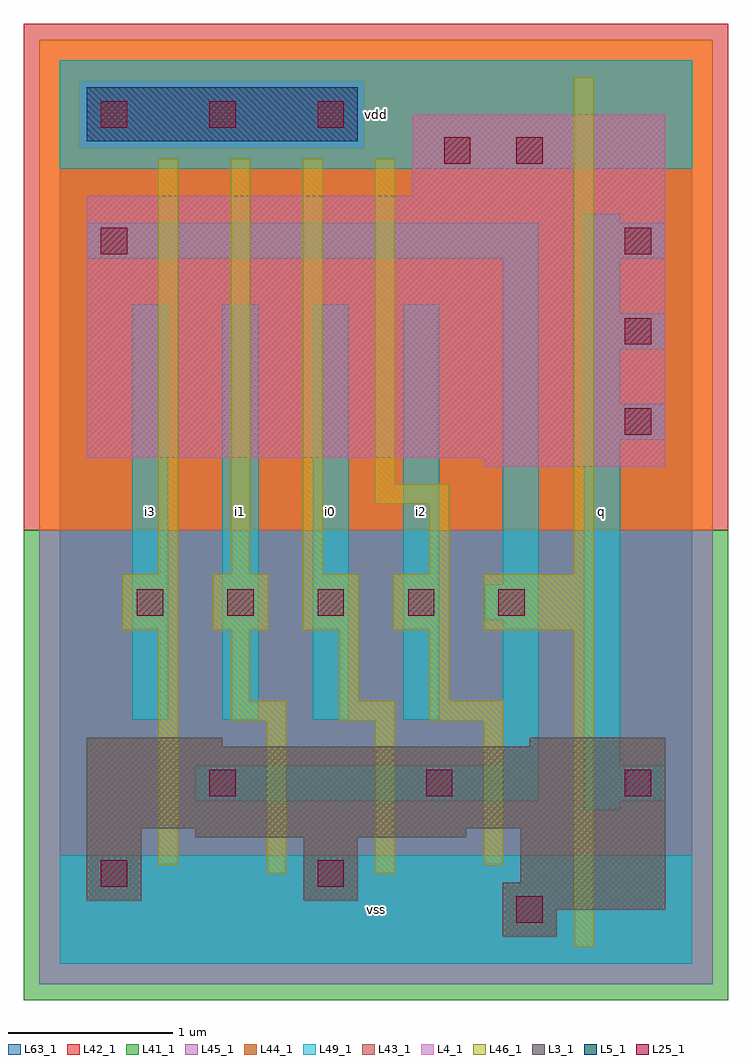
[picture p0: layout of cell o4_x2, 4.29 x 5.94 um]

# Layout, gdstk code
import gdstk
lib = gdstk.Library(unit=1e-6, precision=1e-09)
def R(c, l, rs):  # rectangles x0, y0, x1, y1
    for r in rs: c.add(gdstk.rectangle(r[:2], r[2:], *l))
def A(c, l, x, y, w, h, nx, ny, dx, dy):  # array of equal rectangles
    R(c, l, [(x+i*dx, y+j*dy, x+i*dx+w, y+j*dy+h) for i in range(nx) for j in range(ny)])
L3_1 = (3, 1)
L4_1 = (4, 1)
L5_1 = (5, 1)
L25_1 = (25, 1)
L41_1 = (41, 1)
L42_1 = (42, 1)
L43_1 = (43, 1)
L44_1 = (44, 1)
L45_1 = (45, 1)
L46_1 = (46, 1)
L49_1 = (49, 1)
L63_1 = (63, 1)

o4_x2 = lib.new_cell('o4_x2')
R(o4_x2, L3_1, [(2.695,0.165,3.025,0.33), (2.695,0.33,3.685,0.495), (0.165,0.385,0.495,0.825), (1.485,0.385,1.815,0.77), (2.805,0.495,3.685,0.825), (0.825,0.77,2.475,0.825), (0.165,0.825,3.685,1.32), (0.165,1.32,0.99,1.375), (2.86,1.32,3.685,1.375)])
R(o4_x2, L4_1, [(2.585,3.025,3.685,3.08), (0.165,3.08,3.685,4.675), (2.145,4.675,3.685,5.17)])
R(o4_x2, L5_1, [(0.165,5.005,1.815,5.335)])
A(o4_x2, L25_1, 0.47, 2.12, 0.16, 0.16, 5, 1, 0.55, 0)
A(o4_x2, L25_1, 3.44, 3.22, 0.16, 0.16, 1, 3, 0, 0.55)
A(o4_x2, L25_1, 0.25, 5.09, 0.16, 0.16, 3, 1, 0.66, 0)
R(o4_x2, L25_1, [(2.78,0.25,2.94,0.41), (0.25,0.47,0.41,0.63), (1.57,0.47,1.73,0.63), (0.91,1.02,1.07,1.18), (2.23,1.02,2.39,1.18), (3.44,1.02,3.6,1.18), (0.25,4.32,0.41,4.48), (2.34,4.87,2.5,5.03), (2.78,4.87,2.94,5.03)])
R(o4_x2, L41_1, [(-0.22,-0.22,4.07,2.64)])
R(o4_x2, L42_1, [(-0.22,2.64,4.07,5.72)])
R(o4_x2, L43_1, [(2.695,0.165,3.025,0.33), (2.695,0.33,3.685,0.495), (0.165,0.385,0.495,0.825), (1.485,0.385,1.815,0.77), (2.805,0.495,3.685,0.825), (0.825,0.77,2.475,0.825), (0.165,0.825,3.685,1.32), (0.165,1.32,0.99,1.375), (2.86,1.32,3.685,1.375), (2.585,3.025,3.685,3.08), (0.165,3.08,3.685,4.675), (2.145,4.675,3.685,5.17), (0.165,5.005,1.815,5.335)])
R(o4_x2, L44_1, [(-0.125,2.64,3.975,4.965), (-0.125,4.965,0.125,5.375), (1.855,4.965,3.975,5.375), (-0.125,5.375,3.975,5.625)])
R(o4_x2, L45_1, [(-0.125,-0.125,3.975,2.64), (0.125,4.965,1.855,5.375)])
A(o4_x2, L46_1, 0.38, 2.03, 0.34, 0.34, 4, 1, 0.55, 0)
A(o4_x2, L46_1, 0.6, 2.37, 0.12, 2.53, 3, 1, 0.44, 0)
R(o4_x2, L46_1, [(3.13,0.105,3.25,2.03), (1.26,0.545,1.38,1.48), (1.92,0.545,2.04,1.48), (0.6,0.6,0.72,2.03), (2.58,0.6,2.7,1.48), (1.04,1.48,1.38,1.6), (1.7,1.48,2.04,1.6), (2.25,1.48,2.7,1.6), (1.04,1.6,1.16,2.03), (1.7,1.6,1.82,2.03), (2.25,1.6,2.37,2.03), (2.58,2.03,3.25,2.37), (2.25,2.37,2.37,2.8), (3.13,2.37,3.25,5.395), (1.92,2.8,2.37,2.92), (1.92,2.92,2.04,4.9)])
A(o4_x2, L49_1, 0.44, 1.485, 0.22, 2.53, 4, 1, 0.55, 0)
A(o4_x2, L49_1, 3.19, 3.19, 0.495, 0.22, 1, 3, 0, 0.55)
R(o4_x2, L49_1, [(0,0,3.85,0.66), (3.19,0.935,3.41,0.99), (0.825,0.99,2.915,1.21), (3.19,0.99,3.685,1.21), (2.695,1.21,2.915,2.09), (3.19,1.21,3.41,3.19), (2.585,2.09,2.915,2.31), (2.695,2.31,2.915,4.29), (3.19,3.41,3.41,3.74), (3.19,3.96,3.41,4.29), (0.165,4.29,2.915,4.51), (3.19,4.51,3.41,4.565), (0,4.84,3.85,5.5)])
R(o4_x2, L63_1, [(0,0,3.85,5.5)])
o4_x2.add(gdstk.Label('i3', (0.55,2.75), layer=49, texttype=1))
o4_x2.add(gdstk.Label('i0', (1.65,2.75), layer=49, texttype=1))
o4_x2.add(gdstk.Label('i1', (1.1,2.75), layer=49, texttype=1))
o4_x2.add(gdstk.Label('vss', (1.925,0.33), layer=49, texttype=1))
o4_x2.add(gdstk.Label('i2', (2.2,2.75), layer=49, texttype=1))
o4_x2.add(gdstk.Label('vdd', (1.925,5.17), layer=49, texttype=1))
o4_x2.add(gdstk.Label('q', (3.3,2.75), layer=49, texttype=1))

lib.write_gds('o4_x2.gds')
